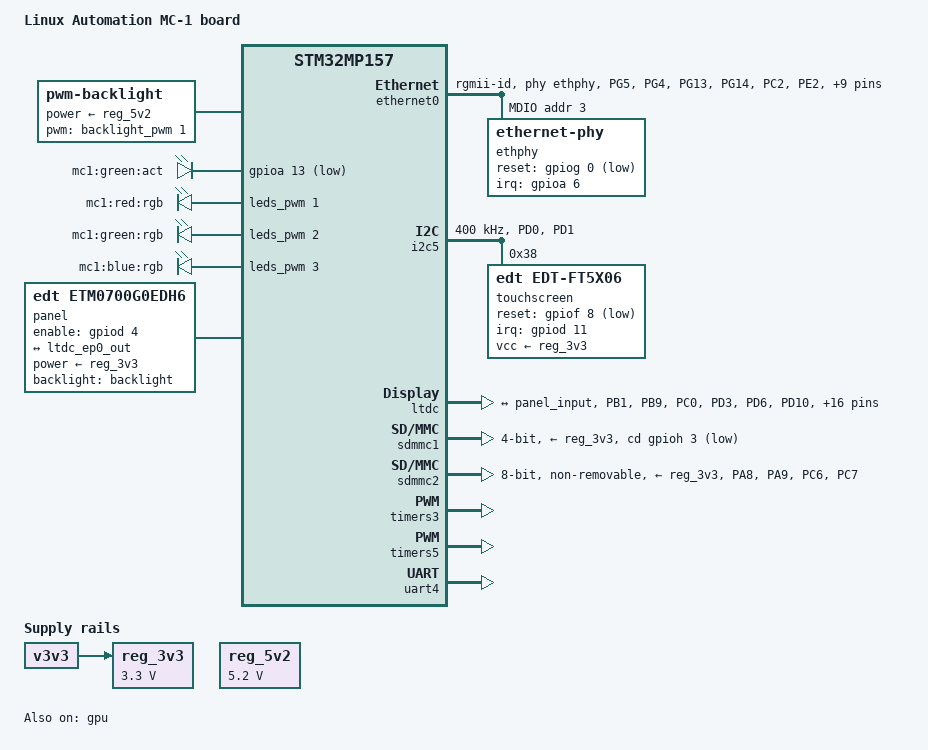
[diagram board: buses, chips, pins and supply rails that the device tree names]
/* SPDX-License-Identifier: (GPL-2.0-or-later OR BSD-3-Clause) */
/*
 * Copyright (C) 2020 STMicroelectronics - All Rights Reserved
 * Copyright (C) 2020 Ahmad Fatoum, Pengutronix
 */

/dts-v1/;

#include <arm/stm32mp157.dtsi>
#include "stm32mp15xx-osd32.dtsi"
#include <arm/stm32mp15xxac-pinctrl.dtsi>

#include <dt-bindings/gpio/gpio.h>
#include <dt-bindings/pwm/pwm.h>

/ {
	model = "Linux Automation MC-1 board";
	compatible = "lxa,stm32mp157c-mc1", "st,stm32mp157";

	aliases {
		ethernet0 = &ethernet0;
		mmc0 = &sdmmc1;
		mmc1 = &sdmmc2;
		serial0 = &uart4;
	};

	backlight: backlight {
		compatible = "pwm-backlight";
		pwms = <&backlight_pwm 1 100000 PWM_POLARITY_INVERTED>;
		brightness-levels = <0 31 63 95 127 159 191 223 255>;
		default-brightness-level = <7>;
		power-supply = <&reg_5v2>; /* 3V3_BACKLIGHT */
	};

	chosen {
		stdout-path = &uart4;
	};

	led-act {
		compatible = "gpio-leds";

		led-green {
			label = "mc1:green:act";
			gpios = <&gpioa 13 GPIO_ACTIVE_LOW>;
			linux,default-trigger = "heartbeat";
		};
	};

	led-rgb {
		compatible = "pwm-leds";

		led-red {
			label = "mc1:red:rgb";
			pwms = <&leds_pwm 1 1000000 0>;
			max-brightness = <255>;
			active-low;
		};

		led-green {
			label = "mc1:green:rgb";
			pwms = <&leds_pwm 2 1000000 0>;
			max-brightness = <255>;
			active-low;
		};

		led-blue {
			label = "mc1:blue:rgb";
			pwms = <&leds_pwm 3 1000000 0>;
			max-brightness = <255>;
			active-low;
		};
	};

	panel: panel {
		compatible = "edt,etm0700g0edh6", "simple-panel";
		backlight = <&backlight>;
		enable-gpios = <&gpiod 4 GPIO_ACTIVE_HIGH>;
		power-supply = <&reg_3v3>;

		port {
			panel_input: endpoint {
				remote-endpoint = <&ltdc_ep0_out>;
			};
		};
	};

	reg_3v3: regulator_3v3 {
		compatible = "regulator-fixed";
		regulator-name = "3V3";
		regulator-min-microvolt = <3300000>;
		regulator-max-microvolt = <3300000>;
		regulator-always-on;
		vin-supply = <&v3v3>;
	};

	/* supplied by either debug board or PoE */
	reg_5v2: regulator_5v2 {
		compatible = "regulator-fixed";
		regulator-name = "5V2";
		regulator-min-microvolt = <5200000>;
		regulator-max-microvolt = <5200000>;
		regulator-always-on;
	};
};

&ethernet0 {
	pinctrl-names = "default";
	pinctrl-0 = <&ethernet0_rgmii_mc1pins_b>;
	phy-mode = "rgmii-id";
	phy-handle = <&ethphy>;
	status = "okay";

	mdio0 {
		compatible = "snps,dwmac-mdio";
		#address-cells = <1>;
		#size-cells = <0>;

		ethphy: ethernet-phy@3 { /* KSZ9031RN */
			reg = <3>;
			reset-gpios = <&gpiog 0 GPIO_ACTIVE_LOW>; /* ETH_RST# */
			interrupt-parent = <&gpioa>;
			interrupts = <6 IRQ_TYPE_EDGE_FALLING>; /* ETH_MDINT# */
			rxc-skew-ps = <1860>;
			txc-skew-ps = <1860>;
			reset-assert-us = <10000>;
			reset-deassert-us = <300>;
			micrel,force-master;
		};
	};
};

&gpioz {
	gpio-line-names = "HWID0", "HWID1", "HWID2", "HWID3", "", "",
			  "HWID4", "HWID5";
};

&gpu {
	status = "okay";
};

&i2c5 {
	pinctrl-names = "default";
	pinctrl-0 = <&i2c5_mc1pins_b>;
	clock-frequency = <400000>;
	status = "okay";

	touchscreen@38 {
		compatible = "edt,edt-ft5x06";
		interrupt-parent = <&gpiod>;
		interrupts = <11 IRQ_TYPE_EDGE_FALLING>; /* TOUCH_INT# */
		vcc-supply = <&reg_3v3>;
		reg = <0x38>;
		reset-gpios = <&gpiof 8 GPIO_ACTIVE_LOW>; /* TOUCH_RESET# */
		touchscreen-size-x = <1792>;
		touchscreen-size-y = <1024>;
		wakeup-source;
	};
};

&ltdc {
	pinctrl-names = "default";
	pinctrl-0 = <&ltdc_mc1pins_c>;
	status = "okay";

	port {
		#address-cells = <1>;
		#size-cells = <0>;
		ltdc_ep0_out: endpoint@0 {
			reg = <0>;
			remote-endpoint = <&panel_input>;
		};
	};
};

&pmic {
	regulators {
		buck4-supply = <&reg_5v2>;	/* VIN */
		ldo2-supply = <&reg_5v2>;	/* PMIC_LDO25IN */
		ldo5-supply = <&reg_5v2>;	/* PMIC_LDO25IN */
		boost-supply = <&reg_5v2>;	/* PMIC_BSTIN */
		pwr_sw2-supply = <&bst_out>;    /* PMIC_SWIN */
	};
};

&sdmmc1 {
	pinctrl-names = "default", "opendrain";
	pinctrl-0 = <&sdmmc1_b4_pins_a>;
	pinctrl-1 = <&sdmmc1_b4_od_pins_a>;
	bus-width = <4>;
	cd-gpios = <&gpioh 3 GPIO_ACTIVE_LOW>;
	disable-wp;
	no-1-8-v;
	st,neg-edge;
	vmmc-supply = <&reg_3v3>;
	status = "okay";
};

&sdmmc1_b4_pins_a {
	/*
	 * board lacks external pull-ups on SDMMC lines. Class 10 SD refuses to
	 * work, thus enable internal pull-ups.
	 */
	pins1 {
		/delete-property/ bias-disable;
		bias-pull-up;
	};
	pins2 {
		/delete-property/ bias-disable;
		bias-pull-up;
	};
};

&sdmmc2 {
	pinctrl-names = "default", "opendrain";
	pinctrl-0 = <&sdmmc2_b4_pins_a &sdmmc2_d47_mc1pins_b>;
	pinctrl-1 = <&sdmmc2_b4_od_pins_a &sdmmc2_d47_mc1pins_b>;
	bus-width = <8>;
	no-1-8-v;
	no-sd;
	no-sdio;
	non-removable;
	st,neg-edge;
	vmmc-supply = <&reg_3v3>;
	status = "okay";
};

&timers3 {
	status = "okay";

	backlight_pwm: pwm {
		pinctrl-names = "default";
		pinctrl-0 = <&pwm3_mc1pins_b>;
		status = "okay";
	};
};

&timers5 {
	status = "okay";

	leds_pwm: pwm {
		pinctrl-names = "default";
		pinctrl-0 = <&pwm5_mc1pins_b>;
		status = "okay";
	};
};

&uart4 {
	pinctrl-names = "default";
	pinctrl-0 = <&uart4_pins_a>;
	status = "okay";
};

&pinctrl {
	ethernet0_rgmii_mc1pins_b: mc1-rgmii-1 {
		pins1 {
			pinmux = <STM32_PINMUX('G', 5, AF11)>, /* ETH_RGMII_CLK125 */
				 <STM32_PINMUX('G', 4, AF11)>, /* ETH_RGMII_GTX_CLK */
				 <STM32_PINMUX('G', 13, AF11)>, /* ETH_RGMII_TXD0 */
				 <STM32_PINMUX('G', 14, AF11)>, /* ETH_RGMII_TXD1 */
				 <STM32_PINMUX('C', 2, AF11)>, /* ETH_RGMII_TXD2 */
				 <STM32_PINMUX('E', 2, AF11)>, /* ETH_RGMII_TXD3 */
				 <STM32_PINMUX('B', 11, AF11)>, /* ETH_RGMII_TX_CTL */
				 <STM32_PINMUX('C', 1, AF11)>; /* ETH_MDC */
			bias-disable;
			drive-push-pull;
			slew-rate = <2>;
		};
		pins2 {
			pinmux = <STM32_PINMUX('A', 2, AF11)>; /* ETH_MDIO */
			bias-disable;
			drive-push-pull;
			slew-rate = <0>;
		};
		pins3 {
			pinmux = <STM32_PINMUX('C', 4, AF11)>, /* ETH_RGMII_RXD0 */
				 <STM32_PINMUX('C', 5, AF11)>, /* ETH_RGMII_RXD1 */
				 <STM32_PINMUX('H', 6, AF11)>, /* ETH_RGMII_RXD2 */
				 <STM32_PINMUX('H', 7, AF11)>, /* ETH_RGMII_RXD3 */
				 <STM32_PINMUX('A', 1, AF11)>, /* ETH_RGMII_RX_CLK */
				 <STM32_PINMUX('A', 7, AF11)>; /* ETH_RGMII_RX_CTL */
			bias-disable;
		};
	};

	i2c5_mc1pins_b: mc1-i2c5-1 {
		pins {
			pinmux = <STM32_PINMUX('D', 0, AF4)>, /* I2C5_SCL */
			         <STM32_PINMUX('D', 1, AF4)>; /* I2C5_SDA */
			bias-disable;
			drive-open-drain;
			slew-rate = <0>;
		};
	};

	ltdc_mc1pins_c: mc1-ltdc-2 {
		pins1 {
			pinmux = <STM32_PINMUX('B',  1, AF9)>,  /* LTDC_R6 */
				 <STM32_PINMUX('B',  9, AF14)>, /* LTDC_B7 */
				 <STM32_PINMUX('C',  0, AF14)>, /* LTDC_R5 */
				 <STM32_PINMUX('D',  3, AF14)>, /* LTDC_G7 */
				 <STM32_PINMUX('D',  6, AF14)>, /* LTDC_B2 */
				 <STM32_PINMUX('D', 10, AF14)>, /* LTDC_B3 */
				 <STM32_PINMUX('E', 11, AF14)>, /* LTDC_G3 */
				 <STM32_PINMUX('E', 12, AF14)>, /* LTDC_B4 */
				 <STM32_PINMUX('E', 13, AF14)>, /* LTDC_DE */
				 <STM32_PINMUX('E', 15, AF14)>, /* LTDC_R7 */
				 <STM32_PINMUX('H',  4, AF9)>,  /* LTDC_G5 */
				 <STM32_PINMUX('H',  8, AF14)>, /* LTDC_R2 */
				 <STM32_PINMUX('H',  9, AF14)>, /* LTDC_R3 */
				 <STM32_PINMUX('H', 10, AF14)>, /* LTDC_R4 */
				 <STM32_PINMUX('H', 13, AF14)>, /* LTDC_G2 */
				 <STM32_PINMUX('H', 15, AF14)>, /* LTDC_G4 */
				 <STM32_PINMUX('I',  1, AF14)>, /* LTDC_G6 */
				 <STM32_PINMUX('I',  5, AF14)>, /* LTDC_B5 */
				 <STM32_PINMUX('I',  6, AF14)>, /* LTDC_B6 */
				 <STM32_PINMUX('I',  9, AF14)>, /* LTDC_VSYNC */
				 <STM32_PINMUX('I', 10, AF14)>; /* LTDC_HSYNC */
			bias-disable;
			drive-push-pull;
			slew-rate = <0>;
		};
		pins2 {
			pinmux = <STM32_PINMUX('E', 14, AF14)>; /* LTDC_CLK */
			bias-disable;
			drive-push-pull;
			slew-rate = <1>;
		};
	};

	pwm3_mc1pins_b: mc1-pwm3-1 {
		pins {
			pinmux = <STM32_PINMUX('B', 5, AF2)>; /* TIM3_CH2 */
			bias-disable;
			drive-push-pull;
			slew-rate = <0>;
		};
	};

	pwm5_mc1pins_b: mc1-pwm5-1 {
		pins {
			pinmux = <STM32_PINMUX('H', 11, AF2)>, /* TIM5_CH2 */
				 <STM32_PINMUX('H', 12, AF2)>, /* TIM5_CH3 */
				 <STM32_PINMUX('I', 0, AF2)>; /* TIM5_CH4 */
			bias-disable;
			drive-push-pull;
			slew-rate = <0>;
		};
	};

	sdmmc2_d47_mc1pins_b: mc1-sdmmc2-d47-1 {
		pins {
			pinmux = <STM32_PINMUX('A', 8, AF9)>,  /* SDMMC2_D4 */
				 <STM32_PINMUX('A', 9, AF10)>, /* SDMMC2_D5 */
				 <STM32_PINMUX('C', 6, AF10)>, /* SDMMC2_D6 */
				 <STM32_PINMUX('C', 7, AF10)>; /* SDMMC2_D7 */
			slew-rate = <1>;
			drive-push-pull;
			bias-disable;
		};
	};

};
